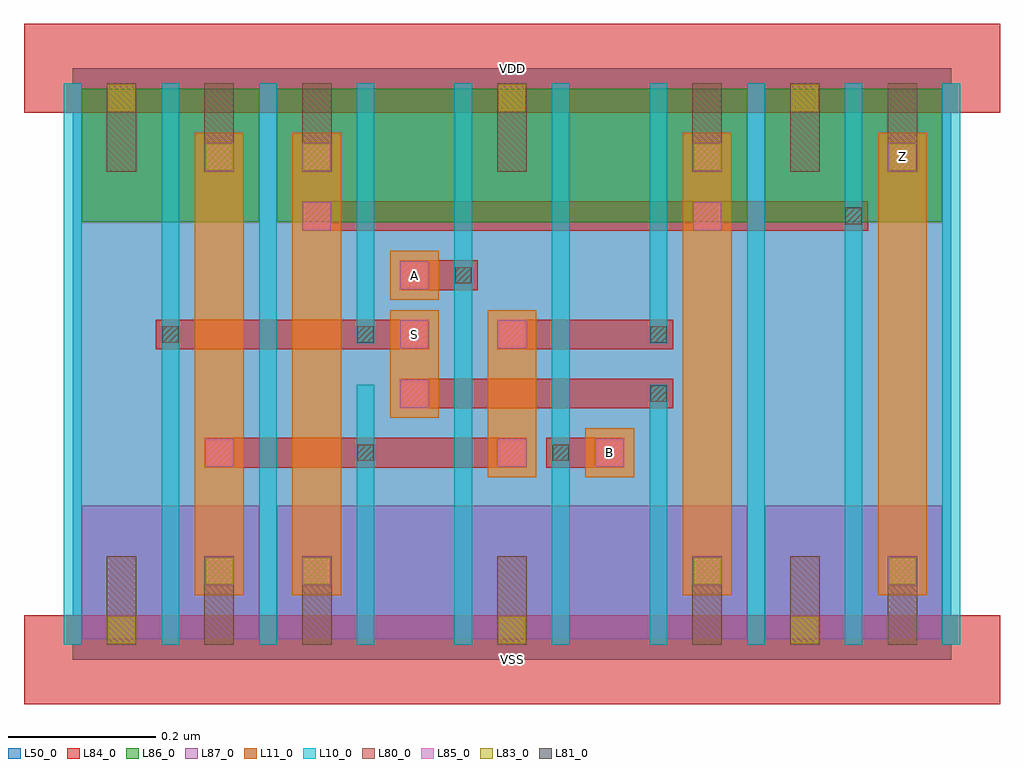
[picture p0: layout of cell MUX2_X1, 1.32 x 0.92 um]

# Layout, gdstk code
import gdstk
lib = gdstk.Library(unit=1e-6, precision=1e-09)
def R(c, l, rs):  # rectangles x0, y0, x1, y1
    for r in rs: c.add(gdstk.rectangle(r[:2], r[2:], *l))
def A(c, l, x, y, w, h, nx, ny, dx, dy):  # array of equal rectangles
    R(c, l, [(x+i*dx, y+j*dy, x+i*dx+w, y+j*dy+h) for i in range(nx) for j in range(ny)])
L10_0 = (10, 0)
L11_0 = (11, 0)
L50_0 = (50, 0)
L80_0 = (80, 0)
L81_0 = (81, 0)
L83_0 = (83, 0)
L84_0 = (84, 0)
L85_0 = (85, 0)
L86_0 = (86, 0)
L87_0 = (87, 0)

mux2_x1 = lib.new_cell('MUX2_X1')
A(mux2_x1, L10_0, -0.012, 0.02, 0.024, 0.76, 3, 1, 0.132, 0)
A(mux2_x1, L10_0, 0.912, 0.02, 0.024, 0.76, 3, 1, 0.132, 0)
R(mux2_x1, L10_0, [(0.384,0.02,0.408,0.372), (0.516,0.02,0.54,0.78), (0.648,0.02,0.672,0.78), (0.78,0.02,0.804,0.372), (0.384,0.428,0.408,0.78), (0.78,0.428,0.804,0.78)])
R(mux2_x1, L11_0, [(0.165,0.087,0.231,0.713), (0.297,0.087,0.363,0.713), (0.825,0.087,0.891,0.713), (1.089,0.087,1.155,0.713), (0.561,0.247,0.627,0.473), (0.693,0.247,0.759,0.313), (0.429,0.327,0.495,0.473), (0.429,0.487,0.495,0.553)])
R(mux2_x1, L50_0, [(0,0,1.188,0.8)])
A(mux2_x1, L80_0, 0.046, 0.02, 0.04, 0.12, 3, 2, 0.132, 0.64)
A(mux2_x1, L80_0, 0.838, 0.02, 0.04, 0.12, 3, 2, 0.132, 0.64)
R(mux2_x1, L80_0, [(0.574,0.02,0.614,0.14), (0.574,0.66,0.614,0.78)])
R(mux2_x1, L81_0, [(0.385,0.269,0.407,0.291), (0.649,0.269,0.671,0.291), (0.781,0.349,0.803,0.371), (0.121,0.429,0.143,0.451), (0.385,0.429,0.407,0.451), (0.781,0.429,0.803,0.451), (0.517,0.509,0.539,0.531), (1.045,0.589,1.067,0.611)])
R(mux2_x1, L83_0, [(0.048,0.022,0.084,0.058), (0.576,0.022,0.612,0.058), (0.972,0.022,1.008,0.058), (0.18,0.102,0.216,0.138), (0.312,0.102,0.348,0.138), (0.84,0.102,0.876,0.138), (1.104,0.102,1.14,0.138), (0.18,0.662,0.216,0.698), (0.312,0.662,0.348,0.698), (0.84,0.662,0.876,0.698), (1.104,0.662,1.14,0.698), (0.048,0.742,0.084,0.778), (0.576,0.742,0.612,0.778), (0.972,0.742,1.008,0.778)])
R(mux2_x1, L84_0, [(-0.066,-0.06,1.254,0.06), (0.178,0.1,0.218,0.14), (0.31,0.1,0.35,0.14), (0.838,0.1,0.878,0.14), (1.102,0.1,1.142,0.14), (0.178,0.26,0.614,0.3), (0.64,0.26,0.746,0.3), (0.442,0.34,0.812,0.38), (0.112,0.42,0.482,0.46), (0.574,0.42,0.812,0.46), (0.442,0.5,0.548,0.54), (0.31,0.58,1.076,0.62), (0.178,0.66,0.218,0.7), (0.31,0.66,0.35,0.7), (0.838,0.66,0.878,0.7), (1.102,0.66,1.142,0.7), (-0.066,0.74,1.254,0.86)])
A(mux2_x1, L85_0, 0.443, 0.341, 0.038, 0.038, 1, 3, 0, 0.08)
R(mux2_x1, L85_0, [(0.179,0.101,0.217,0.139), (0.311,0.101,0.349,0.139), (0.839,0.101,0.877,0.139), (1.103,0.101,1.141,0.139), (0.179,0.261,0.217,0.299), (0.575,0.261,0.613,0.299), (0.707,0.261,0.745,0.299), (0.575,0.421,0.613,0.459), (0.311,0.581,0.349,0.619), (0.839,0.581,0.877,0.619), (0.179,0.661,0.217,0.699), (0.311,0.661,0.349,0.699), (0.839,0.661,0.877,0.699), (1.103,0.661,1.141,0.699)])
R(mux2_x1, L86_0, [(0.012,0.592,0.252,0.772), (0.276,0.592,0.912,0.772), (0.936,0.592,1.176,0.772)])
R(mux2_x1, L87_0, [(0.012,0.028,0.252,0.208), (0.276,0.028,0.912,0.208), (0.936,0.028,1.176,0.208)])
mux2_x1.add(gdstk.Label('VDD', (0.594,0.8), layer=88, texttype=0))
mux2_x1.add(gdstk.Label('VSS', (0.594,0), layer=88, texttype=0))
mux2_x1.add(gdstk.Label('S', (0.462,0.44), layer=31, texttype=0))
mux2_x1.add(gdstk.Label('Z', (1.122,0.68), layer=31, texttype=0))
mux2_x1.add(gdstk.Label('B', (0.726,0.28), layer=31, texttype=0))
mux2_x1.add(gdstk.Label('A', (0.462,0.52), layer=31, texttype=0))

lib.write_gds('MUX2_X1.gds')
